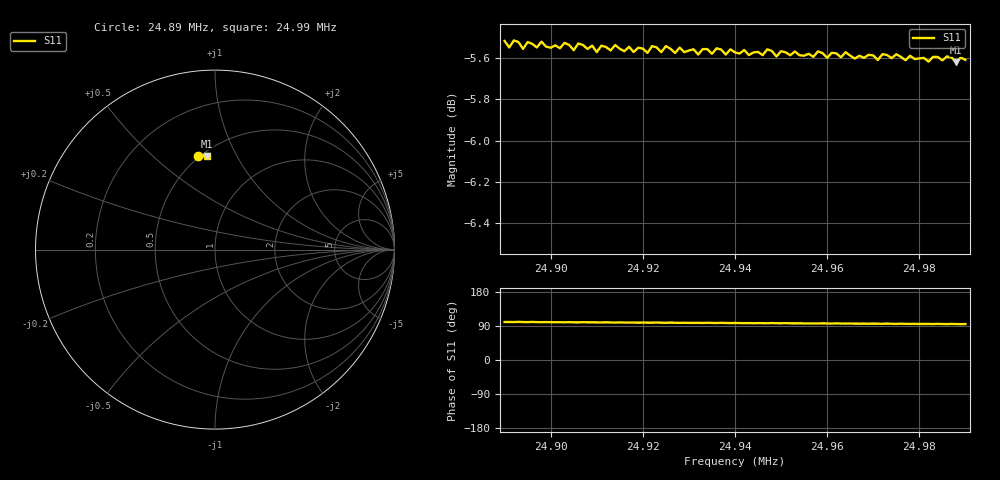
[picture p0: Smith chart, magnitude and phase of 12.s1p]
# Hz S RI R 50
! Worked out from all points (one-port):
!   101 points, 24.89 MHz to 24.99 MHz, reference 50 ohm
!   lowest |S11| = -5.6 dB at 24.988 MHz (marker M1), VSWR 3.20, Z = 26.6 + j38.3 ohm
!   |S11| at or under -10 dB: nowhere
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2.489e7  -0.0939 0.5215
2.4893e7  -0.0976 0.5205
2.4895e7  -0.0913 0.5217
2.4896e7  -0.0961 0.5203
2.4903e7  -0.0873 0.5221
2.4906e7  -0.0856 0.5222
2.4907e7  -0.0904 0.521
2.4911e7  -0.0827 0.522
2.4912e7  -0.0877 0.5208
2.4914e7  -0.0813 0.5224
2.4915e7  -0.0847 0.5208
2.4922e7  -0.077 0.5228
2.4923e7  -0.0818 0.5217
2.4925e7  -0.0753 0.523
2.4926e7  -0.08 0.5215
2.4928e7  -0.0738 0.5228
2.494e7  -0.0711 0.5217
2.4947e7  -0.0637 0.5236
2.4948e7  -0.0686 0.5225
2.495e7  -0.0622 0.5232
2.4951e7  -0.0665 0.5223
2.4953e7  -0.0607 0.5233
2.4965e7  -0.058 0.5224
2.4975e7  -0.0488 0.5237
2.4976e7  -0.0531 0.5225
2.4978e7  -0.0475 0.5234
2.4988e7  -0.0438 0.5218
2.499e7  -0.0445 0.5225
